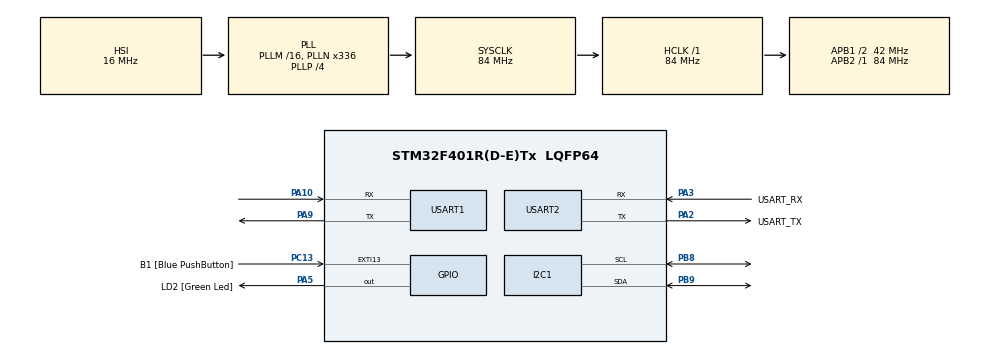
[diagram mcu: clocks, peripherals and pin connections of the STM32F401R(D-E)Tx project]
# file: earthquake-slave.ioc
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Mcu.Family=STM32F4
Mcu.Name=STM32F401R(D-E)Tx
Mcu.Package=LQFP64
NVIC.PriorityGroup=NVIC_PRIORITYGROUP_0
PA10.Mode=Asynchronous
PA10.Signal=USART1_RX
PA13.GPIO_Label=TMS
PA13.Mode=Serial_Wire
PA13.Signal=SYS_JTMS-SWDIO
PA14.GPIO_Label=TCK
PA14.Mode=Serial_Wire
PA14.Signal=SYS_JTCK-SWCLK
PA2.GPIO_Label=USART_TX
PA2.GPIO_Mode=GPIO_MODE_AF_PP
PA2.GPIO_PuPd=GPIO_NOPULL
PA2.GPIO_Speed=GPIO_SPEED_FREQ_LOW
PA2.Mode=Asynchronous
PA2.Signal=USART2_TX
PA3.GPIO_Label=USART_RX
PA3.GPIO_Mode=GPIO_MODE_AF_PP
PA3.GPIO_PuPd=GPIO_NOPULL
PA3.GPIO_Speed=GPIO_SPEED_FREQ_LOW
PA3.Mode=Asynchronous
PA3.Signal=USART2_RX
PA5.GPIO_Label=LD2 [Green Led]
PA5.GPIO_Mode=GPIO_MODE_OUTPUT_PP
PA5.GPIO_PuPd=GPIO_NOPULL
PA5.GPIO_Speed=GPIO_SPEED_FREQ_LOW
PA5.Signal=GPIO_Output
PA9.Mode=Asynchronous
PA9.Signal=USART1_TX
PB3.GPIO_Label=SWO
PB3.Signal=SYS_JTDO-SWO
PB8.Mode=I2C
PB8.Signal=I2C1_SCL
PB9.Mode=I2C
PB9.Signal=I2C1_SDA
PC13-ANTI_TAMP.GPIO_Label=B1 [Blue PushButton]
PC13-ANTI_TAMP.GPIO_ModeDefaultEXTI=GPIO_MODE_IT_FALLING
PC13-ANTI_TAMP.GPIO_PuPd=GPIO_NOPULL
PC13-ANTI_TAMP.Signal=GPXTI13
PC14-OSC32_IN.Mode=LSE-External-Oscillator
PC14-OSC32_IN.Signal=RCC_OSC32_IN
PC15-OSC32_OUT.Mode=LSE-External-Oscillator
PC15-OSC32_OUT.Signal=RCC_OSC32_OUT
PH0\ -\ OSC_IN.Mode=HSE-External-Clock-Source
PH0\ -\ OSC_IN.Signal=RCC_OSC_IN
PH1\ -\ OSC_OUT.Mode=HSE-External-Clock-Source
PH1\ -\ OSC_OUT.Signal=RCC_OSC_OUT
ProjectManager.HeapSize=0x200
ProjectManager.StackSize=0x400
ProjectManager.TargetToolchain=STM32CubeIDE
RCC.48MHZClocksFreq_Value=48000000
RCC.AHBFreq_Value=84000000
RCC.APB1CLKDivider=RCC_HCLK_DIV2
RCC.APB1Freq_Value=42000000
RCC.APB1TimFreq_Value=84000000
RCC.APB2Freq_Value=84000000
RCC.APB2TimFreq_Value=84000000
RCC.CortexFreq_Value=84000000
RCC.HCLKFreq_Value=84000000
RCC.HSE_VALUE=8000000
RCC.HSI_VALUE=16000000
RCC.PLLN=336
RCC.PLLP=RCC_PLLP_DIV4
RCC.PLLQ=7
RCC.SYSCLKFreq_VALUE=84000000
RCC.SYSCLKSource=RCC_SYSCLKSOURCE_PLLCLK
RCC.VCOOutputFreq_Value=336000000
USART1.VirtualMode=VM_ASYNC
USART2.VirtualMode=VM_ASYNC
board=NUCLEO-F401RE

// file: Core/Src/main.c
/* USER CODE BEGIN Header */
/**
  ******************************************************************************
  * @file           : main.c
  * @brief          : Main program body
  ******************************************************************************
  * @attention
  *
  * Copyright (c) 2024 STMicroelectronics.
  * All rights reserved.
  *
  * This software is licensed under terms that can be found in the LICENSE file
  * in the root directory of this software component.
  * If no LICENSE file comes with this software, it is provided AS-IS.
  *
  ******************************************************************************
  */
/* USER CODE END Header */
#include "main.h"

/* USER CODE BEGIN PD */
#define MPU6050_ADDR (0x68 << 1)

#define FS_GYRO_250 0
#define FS_GYRO_500 8

#define FS_ACC_2G 0
#define FS_ACC_4G 8

// Other registers
#define REG_CONFIG_GYRO 27
#define REG_CONFIG_ACC 28
#define REG_USR_CTRL 107 // 0x6B is PWR_MGMT_1 register
#define REG_DATA 59

// ACCEL registers
#define ACCEL_XOUT_H 0x3B
#define ACCEL_XOUT_L 0x3C

#define ACCEL_YOUT_H 0x3D
#define ACCEL_YOUT_L 0x3E

#define ACCEL_ZOUT_H 0x3F
#define ACCEL_ZOUT_L 0x40

typedef struct{
	float AccelX_g, AccelY_g, AccelZ_g;
}Accel_xyz;
/* USER CODE END PD */

I2C_HandleTypeDef hi2c1;

UART_HandleTypeDef huart1;
UART_HandleTypeDef huart2;

void SystemClock_Config(void);
static void MX_GPIO_Init(void);
static void MX_USART2_UART_Init(void);
static void MX_I2C1_Init(void);
static void MX_USART1_UART_Init(void);

/* USER CODE BEGIN 0 */

// Global variables for STM32cubeMonitor
HAL_StatusTypeDef ret;
uint8_t ret_ready = 10;
uint8_t ret_accel = 20;
uint8_t ret_exit_sleep = 20;
uint8_t done_reset_func = 0;

int16_t AccelX, AccelY, AccelZ;
float AccelX_g, AccelY_g, AccelZ_g;
// Accelerometer Data Calibration
// Initialize MPU
void MPU6050_Init() {
  ret = HAL_I2C_IsDeviceReady(&hi2c1, MPU6050_ADDR, 1, 100);

  if (ret == HAL_OK) {
    ret_ready = 10;
  } else if (ret == HAL_ERROR) {
    ret_ready = 11;
    I2C_Bus_Recovery();
  } else if (ret == HAL_BUSY) {
    ret_ready = 12;
    I2C_Bus_Recovery();
  } else {
    ret_ready = 13;
    I2C_Bus_Recovery();
  }

  uint8_t temp_data = FS_ACC_4G;
  ret = HAL_I2C_Mem_Write(&hi2c1, MPU6050_ADDR, REG_CONFIG_ACC, 1, &temp_data, 1, HAL_MAX_DELAY);

  if (ret == HAL_OK) {
    ret_accel = 20;
  } else if (ret == HAL_ERROR) {
    ret_accel = 21;
    I2C_Bus_Recovery();
  } else if (ret == HAL_BUSY) {
    ret_accel = 22;
    I2C_Bus_Recovery();
  } else {
    ret_accel = 23;
    I2C_Bus_Recovery();
  }

  // Exit sleep by writing 0x00 to PWR_MGMT_1 register 0x6B
  uint8_t data = 0;
  ret = HAL_I2C_Mem_Write(&hi2c1, MPU6050_ADDR, REG_USR_CTRL, 1, &data, 1, HAL_MAX_DELAY);

  if (ret == HAL_OK) {
    ret_exit_sleep = 30;
  } else if (ret == HAL_ERROR) {
    ret_exit_sleep = 31;
  } else if (ret == HAL_BUSY) {
    ret_exit_sleep = 32;
  } else {
    ret_exit_sleep = 33;
  }
}

// Resolve HAL_BUSY error
void I2C_Bus_Recovery(void) {
  GPIO_InitTypeDef GPIO_InitStruct = {0};

  // Reconfigure SCL and SDA as GPIO
  __HAL_RCC_GPIOB_CLK_ENABLE(); // Enable GPIO clock (adjust based on your pin)
  GPIO_InitStruct.Pin = GPIO_PIN_8 | GPIO_PIN_9; // Replace with your I2C pins
  GPIO_InitStruct.Mode = GPIO_MODE_OUTPUT_PP;
  GPIO_InitStruct.Pull = GPIO_NOPULL;
  GPIO_InitStruct.Speed = GPIO_SPEED_FREQ_HIGH;
  HAL_GPIO_Init(GPIOB, &GPIO_InitStruct);

  // Manually clock SCL line
  for (int i = 0; i < 21; i++) {
    HAL_GPIO_WritePin(GPIOB, GPIO_PIN_8, GPIO_PIN_SET); // SCL High
    HAL_Delay(20); // Short delay
    HAL_GPIO_WritePin(GPIOB, GPIO_PIN_8, GPIO_PIN_RESET); // SCL Low
    HAL_Delay(20);
  }

  // Reinitialize I2C
  HAL_I2C_DeInit(&hi2c1);
  HAL_I2C_Init(&hi2c1);
}

void MPU6050_Read_Accel(int16_t *AccelX, int16_t *AccelY, int16_t *AccelZ) {
  uint8_t buffer[6]; // Buffer to store the raw data (6 bytes for X, Y, Z)
  // Read 6 bytes starting from ACCEL_XOUT_H (0x3B)
  if (HAL_I2C_Mem_Read(&hi2c1, MPU6050_ADDR, ACCEL_XOUT_H, I2C_MEMADD_SIZE_8BIT, buffer, 6, HAL_MAX_DELAY) == HAL_OK) {
    // Combine high and low bytes for each axis
//	HAL_UART_Transmit(&huart1, buffer, sizeof(buffer), 1000)
    *AccelX = (int16_t)(buffer[0] << 8 | buffer[1]); // X-axis
    *AccelY = (int16_t)(buffer[2] << 8 | buffer[3]); // Y-axis
    *AccelZ = (int16_t)(buffer[4] << 8 | buffer[5]); // Z-axis
  } else {
    // If reading fails, set default values or handle error
    *AccelX = 0;
    *AccelY = 0;
    *AccelZ = 0;

  }
}

float MPU6050_Convert_to_g(int16_t raw_value) {
  return (float)(raw_value / 16384.0);  // Assuming default ±2g sensitivity
}

float[] MPU6050_Calibration(){
    float AccelX_g = 0, AccelY_g = 0, AccelZ_g = 0;
    float AccelX_g_sum = 0, AccelY_g_sum = 0, AccelZ_g_sum = 0;
    float cnt = 0;
    while(cnt <= 1024){
        MPU6050_Read_Accel(&AccelX, &AccelY, &AccelZ);
        AccelX_g = MPU6050_Convert_to_g(AccelX);
        AccelY_g = MPU6050_Convert_to_g(AccelY);
        AccelZ_g = MPU6050_Convert_to_g(AccelZ);
        AccelX_g_sum +=AccelX_g;
        AccelY_g_sum +=AccelY_g;
        AccelZ_g_sum +=AccelZ_g;
        cnt++;
    }
    if (cnt == 1024){
        AccelX_g_sum /= 1024;
        AccelY_g_sum /= 1024;
        AccelZ_g_sum /= 1024;
    }
    return [AccelX_g_sum, AccelY_g_sum, AccelZ_g_sum];
}
/* USER CODE END 0 */

int main(void)
{

  /* MCU Configuration--------------------------------------------------------*/

  /* Reset of all peripherals, Initializes the Flash interface and the Systick. */
  HAL_Init();

  /* Configure the system clock */
  SystemClock_Config();

  /* Initialize all configured peripherals */
  MX_GPIO_Init();
  MX_USART2_UART_Init();
  MX_I2C1_Init();
  MX_USART1_UART_Init();
  /* USER CODE BEGIN 2 */
  MPU6050_Init();

  /* USER CODE END 2 */
    float AccelX_cal;
    float AccelY_cal;
    float AccelZ_cal;
    [AccelX_cal, AccelY_cal, AccelZ_cal] = MPU6050_Calibration();

  /* Infinite loop */
  while (1)
  {
    /* USER CODE BEGIN 3 */
    MPU6050_Read_Accel(&AccelX, &AccelY, &AccelZ);

    AccelX_g = MPU6050_Convert_to_g(AccelX);
    AccelY_g = MPU6050_Convert_to_g(AccelY);
    AccelZ_g = MPU6050_Convert_to_g(AccelZ);

    AccelX_g -= AccelX_cal;
    AccelY_g -= AccelY_cal;
    AccelZ_g -= AccelZ_cal;

//    Accel_xyz data;
//    data.AccelX_g = AccelX_g;
//    data.AccelY_g = AccelY_g;
//    data.AccelZ_g = AccelZ_g;
//    HAL_UART_Transmit(&huart1, (const uint8_t* )&data, sizeof(data), 1000);
//

    // LED BLINKING
    HAL_GPIO_TogglePin (GPIOA, GPIO_PIN_5);
  }

  /* USER CODE END 3 */
}

void SystemClock_Config(void)
{
  RCC_OscInitTypeDef RCC_OscInitStruct = {0};
  RCC_ClkInitTypeDef RCC_ClkInitStruct = {0};

  /** Configure the main internal regulator output voltage
  */
  __HAL_RCC_PWR_CLK_ENABLE();
  __HAL_PWR_VOLTAGESCALING_CONFIG(PWR_REGULATOR_VOLTAGE_SCALE2);

  /** Initializes the RCC Oscillators according to the specified parameters
  * in the RCC_OscInitTypeDef structure.
  */
  RCC_OscInitStruct.OscillatorType = RCC_OSCILLATORTYPE_HSI;
  RCC_OscInitStruct.HSIState = RCC_HSI_ON;
  RCC_OscInitStruct.HSICalibrationValue = RCC_HSICALIBRATION_DEFAULT;
  RCC_OscInitStruct.PLL.PLLState = RCC_PLL_ON;
  RCC_OscInitStruct.PLL.PLLSource = RCC_PLLSOURCE_HSI;
  RCC_OscInitStruct.PLL.PLLM = 16;
  RCC_OscInitStruct.PLL.PLLN = 336;
  RCC_OscInitStruct.PLL.PLLP = RCC_PLLP_DIV4;
  RCC_OscInitStruct.PLL.PLLQ = 7;
  if (HAL_RCC_OscConfig(&RCC_OscInitStruct) != HAL_OK)
  {
    Error_Handler();
  }

  /** Initializes the CPU, AHB and APB buses clocks
  */
  RCC_ClkInitStruct.ClockType = RCC_CLOCKTYPE_HCLK|RCC_CLOCKTYPE_SYSCLK
                              |RCC_CLOCKTYPE_PCLK1|RCC_CLOCKTYPE_PCLK2;
  RCC_ClkInitStruct.SYSCLKSource = RCC_SYSCLKSOURCE_PLLCLK;
  RCC_ClkInitStruct.AHBCLKDivider = RCC_SYSCLK_DIV1;
  RCC_ClkInitStruct.APB1CLKDivider = RCC_HCLK_DIV2;
  RCC_ClkInitStruct.APB2CLKDivider = RCC_HCLK_DIV1;

  if (HAL_RCC_ClockConfig(&RCC_ClkInitStruct, FLASH_LATENCY_2) != HAL_OK)
  {
    Error_Handler();
  }
}

static void MX_I2C1_Init(void)
{

  hi2c1.Instance = I2C1;
  hi2c1.Init.ClockSpeed = 100000;
  hi2c1.Init.DutyCycle = I2C_DUTYCYCLE_2;
  hi2c1.Init.OwnAddress1 = 0;
  hi2c1.Init.AddressingMode = I2C_ADDRESSINGMODE_7BIT;
  hi2c1.Init.DualAddressMode = I2C_DUALADDRESS_DISABLE;
  hi2c1.Init.OwnAddress2 = 0;
  hi2c1.Init.GeneralCallMode = I2C_GENERALCALL_DISABLE;
  hi2c1.Init.NoStretchMode = I2C_NOSTRETCH_DISABLE;
  if (HAL_I2C_Init(&hi2c1) != HAL_OK)
  {
    Error_Handler();
  }

}

static void MX_USART1_UART_Init(void)
{

  huart1.Instance = USART1;
  huart1.Init.BaudRate = 115200;
  huart1.Init.WordLength = UART_WORDLENGTH_8B;
  huart1.Init.StopBits = UART_STOPBITS_1;
  huart1.Init.Parity = UART_PARITY_NONE;
  huart1.Init.Mode = UART_MODE_TX_RX;
  huart1.Init.HwFlowCtl = UART_HWCONTROL_NONE;
  huart1.Init.OverSampling = UART_OVERSAMPLING_16;
  if (HAL_UART_Init(&huart1) != HAL_OK)
  {
    Error_Handler();
  }

}

static void MX_USART2_UART_Init(void)
{

  huart2.Instance = USART2;
  huart2.Init.BaudRate = 115200;
  huart2.Init.WordLength = UART_WORDLENGTH_8B;
  huart2.Init.StopBits = UART_STOPBITS_1;
  huart2.Init.Parity = UART_PARITY_NONE;
  huart2.Init.Mode = UART_MODE_TX_RX;
  huart2.Init.HwFlowCtl = UART_HWCONTROL_NONE;
  huart2.Init.OverSampling = UART_OVERSAMPLING_16;
  if (HAL_UART_Init(&huart2) != HAL_OK)
  {
    Error_Handler();
  }

}

static void MX_GPIO_Init(void)
{
  GPIO_InitTypeDef GPIO_InitStruct = {0};

  /* GPIO Ports Clock Enable */
  __HAL_RCC_GPIOC_CLK_ENABLE();
  __HAL_RCC_GPIOH_CLK_ENABLE();
  __HAL_RCC_GPIOA_CLK_ENABLE();
  __HAL_RCC_GPIOB_CLK_ENABLE();

  /*Configure GPIO pin Output Level */
  HAL_GPIO_WritePin(LD2_GPIO_Port, LD2_Pin, GPIO_PIN_RESET);

  /*Configure GPIO pin : B1_Pin */
  GPIO_InitStruct.Pin = B1_Pin;
  GPIO_InitStruct.Mode = GPIO_MODE_IT_FALLING;
  GPIO_InitStruct.Pull = GPIO_NOPULL;
  HAL_GPIO_Init(B1_GPIO_Port, &GPIO_InitStruct);

  /*Configure GPIO pin : LD2_Pin */
  GPIO_InitStruct.Pin = LD2_Pin;
  GPIO_InitStruct.Mode = GPIO_MODE_OUTPUT_PP;
  GPIO_InitStruct.Pull = GPIO_NOPULL;
  GPIO_InitStruct.Speed = GPIO_SPEED_FREQ_LOW;
  HAL_GPIO_Init(LD2_GPIO_Port, &GPIO_InitStruct);

}

void Error_Handler(void)
{
  __disable_irq();
  while (1)
  {
  }
}
